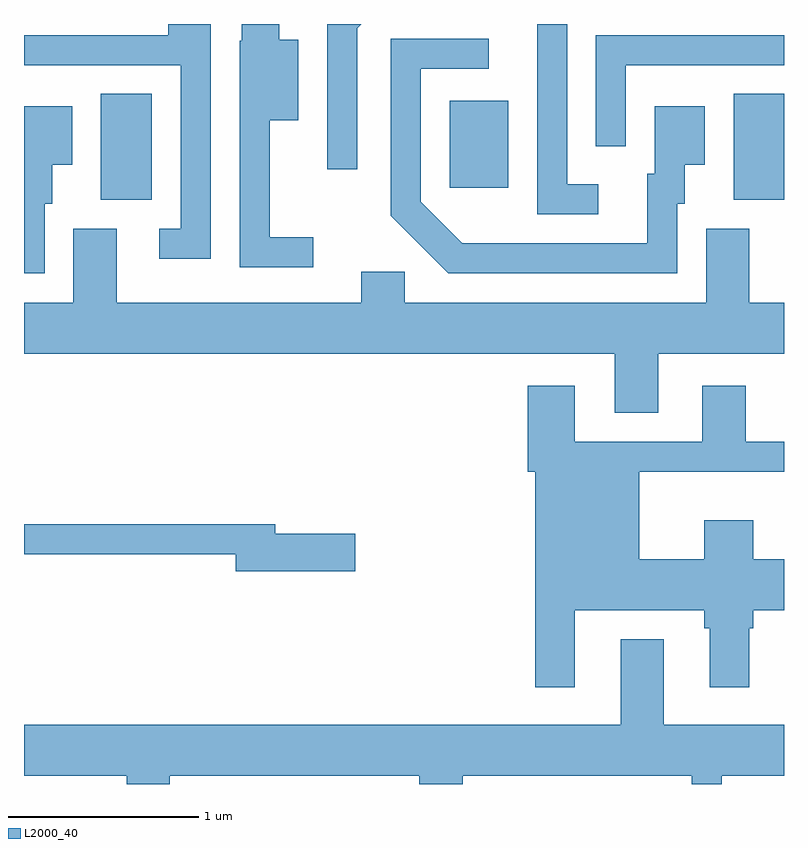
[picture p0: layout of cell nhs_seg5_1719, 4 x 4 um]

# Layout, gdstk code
import gdstk
lib = gdstk.Library(unit=1e-6, precision=1e-09)
def R(c, l, rs):  # rectangles x0, y0, x1, y1
    for r in rs: c.add(gdstk.rectangle(r[:2], r[2:], *l))
def P(c, l, *ps):  # polygons
    for p in ps: c.add(gdstk.Polygon(p, *l))
L2000_40 = (2000, 40)

nhs_seg5_1719 = lib.new_cell('nhs_seg5_1719')
R(nhs_seg5_1719, L2000_40, [(236.016,1473.146,236.284,1473.704), (239.346,1473.146,239.611,1473.704), (237.851,1473.211,238.159,1473.669)])
P(nhs_seg5_1719, L2000_40, [(236.594,1474.072),(236.371,1474.072),(236.371,1474.014),(235.611,1474.014),(235.611,1473.856),(236.436,1473.856),(236.436,1472.994),(236.323,1472.994),(236.323,1472.836),(236.594,1472.836)],
  [(238.633,1473.229),(238.469,1473.229),(238.469,1474.072),(238.311,1474.072),(238.311,1473.071),(238.633,1473.071)],
  [(237.364,1474.049),(237.387,1474.072),(237.206,1474.072),(237.206,1473.308),(237.364,1473.308)],
  [(237.133,1472.949),(236.904,1472.949),(236.904,1473.566),(237.054,1473.566),(237.054,1473.989),(236.954,1473.989),(236.954,1474.072),(236.756,1474.072),(236.756,1473.985),(236.746,1473.985),(236.746,1472.791),(237.133,1472.791)],
  [(238.779,1473.856),(239.611,1473.856),(239.611,1474.014),(238.621,1474.014),(238.621,1473.428),(238.779,1473.428)],
  [(239.049,1473.126),(239.089,1473.126),(239.089,1473.331),(239.194,1473.331),(239.194,1473.639),(238.931,1473.639),(238.931,1473.284),(238.891,1473.284),(238.891,1472.919),(237.917,1472.919),(237.699,1473.137),(237.699,1473.836),(238.058,1473.836),(238.058,1473.994),(237.541,1473.994),(237.541,1473.064),(237.844,1472.761),(239.049,1472.761)],
  [(235.719,1473.126),(235.759,1473.126),(235.759,1473.331),(235.864,1473.331),(235.864,1473.639),(235.611,1473.639),(235.611,1472.761),(235.719,1472.761)],
  [(238.949,1472.336),(239.611,1472.336),(239.611,1472.604),(239.429,1472.604),(239.429,1472.994),(239.201,1472.994),(239.201,1472.604),(237.614,1472.604),(237.614,1472.769),(237.386,1472.769),(237.386,1472.604),(236.099,1472.604),(236.099,1472.994),(235.871,1472.994),(235.871,1472.604),(235.611,1472.604),(235.611,1472.336),(238.721,1472.336),(238.721,1472.026),(238.949,1472.026)],
  [(238.509,1470.986),(239.191,1470.986),(239.191,1470.891),(239.221,1470.891),(239.221,1470.581),(239.429,1470.581),(239.429,1470.891),(239.449,1470.891),(239.449,1470.986),(239.611,1470.986),(239.611,1471.254),(239.449,1471.254),(239.449,1471.459),(239.191,1471.459),(239.191,1471.254),(238.849,1471.254),(238.849,1471.716),(239.611,1471.716),(239.611,1471.874),(239.409,1471.874),(239.409,1472.169),(239.181,1472.169),(239.181,1471.874),(238.509,1471.874),(238.509,1472.169),(238.261,1472.169),(238.261,1471.716),(238.301,1471.716),(238.301,1470.581),(238.509,1470.581)],
  [(237.354,1471.389),(236.934,1471.389),(236.934,1471.439),(235.611,1471.439),(235.611,1471.281),(236.726,1471.281),(236.726,1471.191),(237.354,1471.191)],
  [(236.379,1470.116),(237.691,1470.116),(237.691,1470.072),(237.919,1470.072),(237.919,1470.116),(239.126,1470.116),(239.126,1470.072),(239.284,1470.072),(239.284,1470.116),(239.611,1470.116),(239.611,1470.384),(238.979,1470.384),(238.979,1470.834),(238.751,1470.834),(238.751,1470.384),(235.611,1470.384),(235.611,1470.116),(236.151,1470.116),(236.151,1470.072),(236.379,1470.072)])

lib.write_gds('nhs_seg5_1719.gds')
